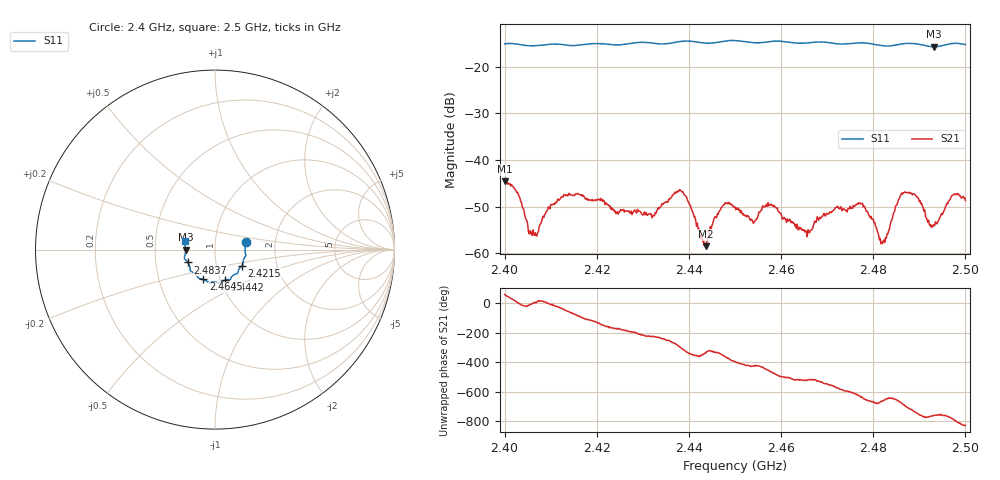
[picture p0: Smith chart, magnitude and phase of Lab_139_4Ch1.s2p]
# Hz S RI R 50
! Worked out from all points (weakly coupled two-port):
!   601 points, 2.4 GHz to 2.5 GHz, reference 50 ohm
!   highest |S21| = -44.55 dB at 2.4 GHz (marker M1); lowest = -58.5 dB at 2.4437 GHz (marker M2)
!   lowest |S11| = -15.7 dB at 2.4932 GHz (marker M3), VSWR 1.39, Z = 35.9 - j0.0633 ohm
!   |S11| at or under -10 dB: start of sweep to end of sweep
!   S12 and S22 are empty: the file has one direction only
!   S11 on the Smith chart (normalised r, x): 2.4 GHz: 1.41, +0.12; 2.4215 GHz: 1.33, -0.25; 2.4442 GHz: 1.05, -0.37; 2.4645 GHz: 0.83, -0.29; 2.4837 GHz: 0.73, -0.11; 2.5 GHz: 0.71, +0.07
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2.4e9  0.1712 0.0403  0.00301 0.0051  0 0  0 0
2.4065e9  0.1677 -0.00702  0.00154 0.000244  0 0  0 0
2.41e9  0.1719 -0.0292  0.00328 -0.00041  0 0  0 0
2.416667e9  0.1567 -0.0698  -0.000423 -0.00413  0 0  0 0
2.4215e9  0.1513 -0.09  -0.00323 -0.00181  0 0  0 0
2.433333e9  0.1084 -0.1384  -0.00197 0.00238  0 0  0 0
2.438333e9  0.0856 -0.1659  0.00261 0.00386  0 0  0 0
2.443667e9  0.0612 -0.1681  0.00111 0.000451  0 0  0 0
2.444167e9  0.0566 -0.1694  0.00119 0.000818  0 0  0 0
2.4475e9  0.0325 -0.1843  0.00328 0.000289  0 0  0 0
2.45e9  0.0253 -0.189  0.00256 -0.00184  0 0  0 0
2.454e9  0.00157 -0.1808  0.000864 -0.00191  0 0  0 0
2.458e9  -0.0283 -0.1844  -0.000979 -0.00318  0 0  0 0
2.4645e9  -0.0658 -0.1658  -0.00167 -0.000619  0 0  0 0
2.466667e9  -0.0826 -0.162  -0.00167 -0.00072  0 0  0 0
2.477167e9  -0.1356 -0.1191  -2.17e-06 0.00342  0 0  0 0
2.481833e9  -0.1415 -0.0915  0.000778 0.00106  0 0  0 0
2.483333e9  -0.149 -0.075  0.000325 0.00171  0 0  0 0
2.483667e9  -0.1511 -0.0717  0.000493 0.00193  0 0  0 0
2.487333e9  -0.1707 -0.05  0.00437 0.0011  0 0  0 0
2.493167e9  -0.1635 -0.000856  0.00157 -0.0013  0 0  0 0
2.5e9  -0.1653 0.0504  -0.00117 -0.0035  0 0  0 0
